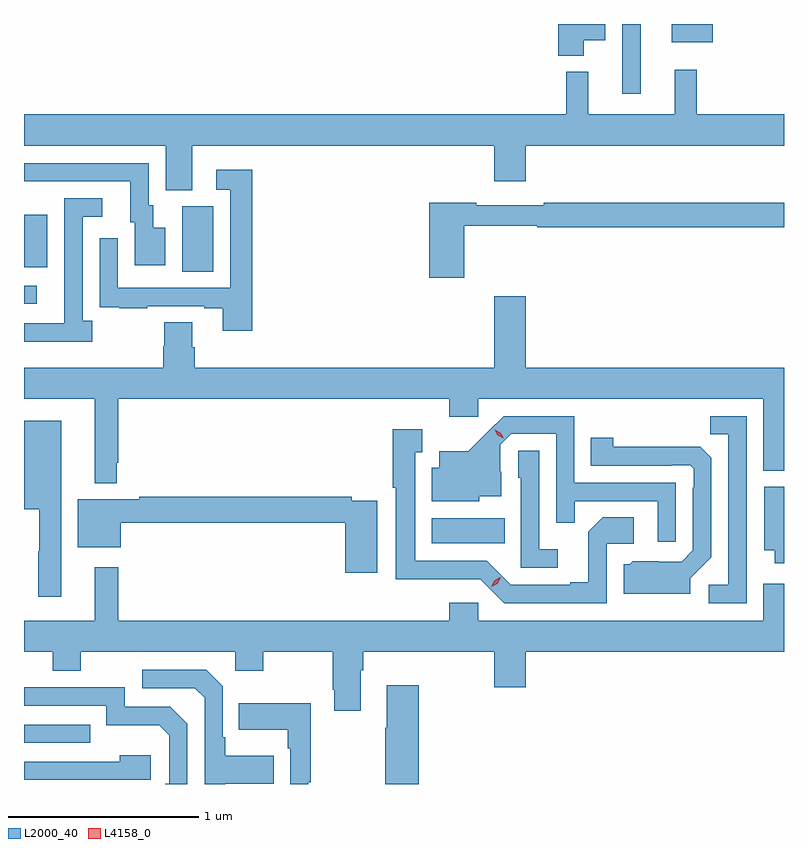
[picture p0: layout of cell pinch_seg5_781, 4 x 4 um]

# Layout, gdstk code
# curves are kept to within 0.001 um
import gdstk
lib = gdstk.Library(unit=1e-6, precision=1e-09)
def R(c, l, rs):  # rectangles x0, y0, x1, y1
    for r in rs: c.add(gdstk.rectangle(r[:2], r[2:], *l))
def P(c, l, *ps):  # polygons
    for p in ps: c.add(gdstk.Polygon(p, *l))
L2000_40 = (2000, 40)
L4158_0 = (4158, 0)

pinch_seg5_781 = lib.new_cell('pinch_seg5_781')
R(pinch_seg5_781, L2000_40, [(761.932,906.897,762.281,906.993), (764.078,907.946,764.462,908.08), (761.932,909.207,761.998,909.303), (762.764,909.376,762.928,909.72), (761.932,909.401,762.055,909.676), (765.081,910.314,765.178,910.68), (765.341,910.583,765.556,910.68), (762.738,910.678,763.126,910.68), (764.078,910.678,764.458,910.68)])
P(pinch_seg5_781, L2000_40, [(764.878,910.595),(764.992,910.595),(764.992,910.68),(764.744,910.68),(764.744,910.514),(764.878,910.514)],
  [(762.817,910.04),(764.408,910.04),(764.408,909.852),(764.572,909.852),(764.572,910.04),(765.932,910.04),(765.932,910.204),(765.473,910.204),(765.473,910.438),(765.356,910.438),(765.356,910.204),(764.903,910.204),(764.903,910.429),(764.785,910.429),(764.785,910.204),(761.932,910.204),(761.932,910.04),(762.677,910.04),(762.677,909.805),(762.817,909.805)],
  [(762.676,909.607),(762.613,909.607),(762.613,909.726),(762.588,909.726),(762.588,909.948),(761.932,909.948),(761.932,909.852),(762.491,909.852),(762.491,909.636),(762.515,909.636),(762.515,909.411),(762.676,909.411)],
  [(763.133,909.913),(762.945,909.913),(762.945,909.807),(763.017,909.807),(763.017,909.291),(762.426,909.291),(762.426,909.553),(762.33,909.553),(762.33,909.298),(762.331,909.298),(762.331,909.189),(762.433,909.189),(762.433,909.183),(762.581,909.183),(762.581,909.195),(762.881,909.195),(762.881,909.183),(762.977,909.183),(762.977,909.066),(763.133,909.066)],
  [(762.292,909.118),(762.24,909.118),(762.24,909.666),(762.343,909.666),(762.343,909.762),(762.144,909.762),(762.144,909.305),(762.143,909.305),(762.143,909.105),(761.932,909.105),(761.932,909.008),(762.292,909.008)],
  [(764.249,909.618),(764.632,909.618),(764.632,909.61),(765.932,909.61),(765.932,909.739),(764.668,909.739),(764.668,909.726),(764.312,909.726),(764.312,909.739),(764.066,909.739),(764.066,909.345),(764.249,909.345)],
  [(762.83,908.978),(762.817,908.978),(762.817,909.11),(762.67,909.11),(762.67,908.985),(762.665,908.985),(762.665,908.872),(761.932,908.872),(761.932,908.708),(762.305,908.708),(762.305,908.264),(762.42,908.264),(762.42,908.371),(762.427,908.371),(762.427,908.708),(764.171,908.708),(764.171,908.613),(764.322,908.613),(764.322,908.708),(765.824,908.708),(765.824,908.33),(765.932,908.33),(765.932,908.872),(764.572,908.872),(764.572,909.247),(764.408,909.247),(764.408,908.872),(762.83,908.872)],
  [(765.735,908.616),(765.544,908.616),(765.544,908.521),(765.639,908.521),(765.639,907.728),(765.537,907.728),(765.537,907.632),(765.735,907.632)],
  [(765.363,908.265),(764.829,908.265),(764.829,908.616),(764.456,908.616),(764.269,908.431),(764.117,908.431),(764.117,908.344),(764.078,908.344),(764.078,908.168),(764.328,908.168),(764.328,908.195),(764.443,908.195),(764.443,908.324),(764.439,908.324),(764.439,908.466),(764.496,908.523),(764.733,908.523),(764.733,908.056),(764.831,908.056),(764.831,908.169),(765.267,908.169),(765.267,907.956),(765.363,907.956)],
  [(762.127,908.593),(761.932,908.593),(761.932,908.126),(762.013,908.126),(762.013,907.904),(762.006,907.904),(762.006,907.665),(762.127,907.665)],
  [(765,907.944),(765.142,907.944),(765.142,908.084),(764.977,908.084),(764.901,908.008),(764.901,907.741),(764.807,907.741),(764.807,907.728),(764.493,907.728),(764.367,907.854),(763.99,907.854),(763.99,908.427),(764.029,908.427),(764.029,908.548),(763.872,908.548),(763.872,908.239),(763.889,908.239),(763.889,907.757),(764.334,907.758),(764.46,907.632),(765,907.632)],
  [(765.439,907.764),(765.549,907.874),(765.549,908.396),(765.49,908.455),(765.033,908.456),(765.033,908.503),(764.914,908.503),(764.914,908.355),(765.338,908.355),(765.338,908.358),(765.438,908.358),(765.456,908.34),(765.456,908.24),(765.453,908.24),(765.453,907.911),(765.393,907.851),(765.136,907.852),(765.12,907.836),(765.089,907.836),(765.089,907.682),(765.439,907.682)],
  [(764.74,907.915),(764.643,907.915),(764.643,908.435),(764.532,908.435),(764.532,908.292),(764.547,908.292),(764.547,907.818),(764.74,907.818)],
  [(765.932,908.245),(765.827,908.245),(765.827,907.91),(765.884,907.91),(765.884,907.842),(765.932,907.842)],
  [(763.792,908.172),(763.658,908.172),(763.658,908.192),(762.538,908.192),(762.538,908.179),(762.215,908.179),(762.215,907.925),(762.442,907.925),(762.442,908.056),(763.622,908.056),(763.622,907.791),(763.792,907.791)],
  [(763.705,907.28),(763.718,907.28),(763.718,907.376),(764.408,907.376),(764.408,907.188),(764.572,907.188),(764.572,907.376),(765.932,907.376),(765.932,907.735),(765.824,907.735),(765.824,907.54),(764.322,907.54),(764.322,907.633),(764.171,907.633),(764.171,907.54),(762.427,907.54),(762.427,907.822),(762.305,907.822),(762.305,907.54),(761.932,907.54),(761.932,907.376),(762.083,907.376),(762.083,907.277),(762.231,907.277),(762.231,907.376),(763.044,907.376),(763.044,907.277),(763.191,907.277),(763.191,907.376),(763.558,907.376),(763.558,907.177),(763.565,907.177),(763.565,907.065),(763.705,907.065)],
  [(762.991,906.682),(763.247,906.682),(763.247,906.829),(762.991,906.829),(762.991,906.925),(762.978,906.925),(762.978,907.194),(762.891,907.281),(762.555,907.281),(762.555,907.185),(762.831,907.185),(762.882,907.134),(762.882,906.68),(762.991,906.68)],
  [(764.009,907.201),(763.841,907.201),(763.841,906.977),(763.834,906.977),(763.834,906.68),(764.009,906.68)],
  [(762.792,906.996),(762.702,907.086),(762.462,907.086),(762.462,907.188),(761.932,907.188),(761.932,907.092),(762.366,907.092),(762.366,906.989),(762.643,906.989),(762.696,906.936),(762.696,906.682),(762.676,906.682),(762.676,906.68),(762.792,906.68)],
  [(763.429,906.689),(763.441,906.689),(763.441,907.105),(763.063,907.105),(763.063,906.965),(763.32,906.965),(763.32,906.869),(763.332,906.869),(763.332,906.68),(763.429,906.68)],
  [(762.598,906.832),(762.437,906.832),(762.437,906.798),(761.932,906.798),(761.932,906.702),(762.598,906.702)])
P(pinch_seg5_781, L4158_0, [(764.456,908.5),(764.426,908.515),(764.409,908.545),(764.409,908.545),(764.409,908.545),(764.439,908.53),(764.456,908.5),(764.456,908.5)],
  [(764.39,907.717),(764.39,907.717),(764.408,907.749),(764.439,907.768),(764.44,907.768),(764.44,907.768),(764.422,907.735),(764.39,907.717)])

lib.write_gds('pinch_seg5_781.gds')
